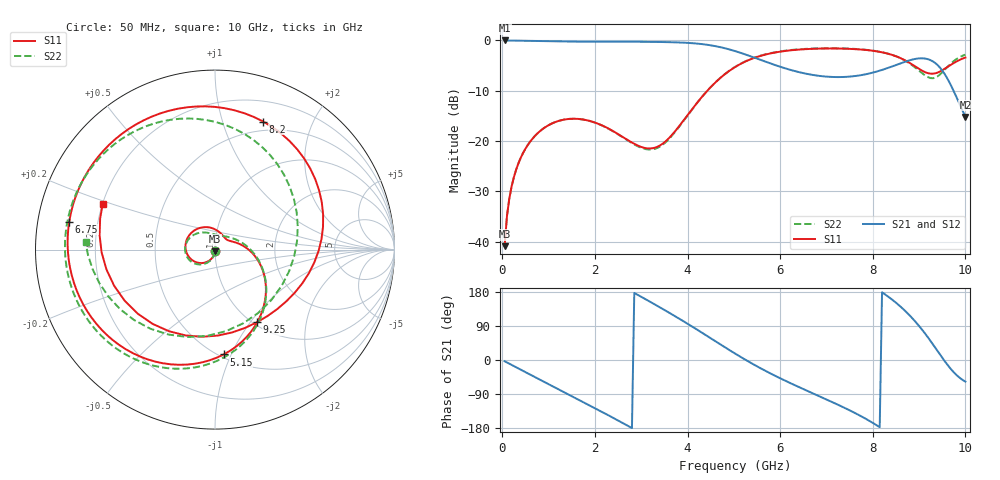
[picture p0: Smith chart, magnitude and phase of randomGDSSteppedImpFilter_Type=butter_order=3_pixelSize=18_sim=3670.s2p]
! freq	dB(S11)	phase(S11)	dB(S12)	phase(S12)
!  dB(S21)	phase(S21)	dB(S22)	phase(S22)
!S-par simulation data
#  GHz  S  DB  R 50
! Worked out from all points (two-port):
!   200 points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, 50 MHz to 10 GHz, reference 50 ohm
!   highest |S21| = -0.01 dB at 50 MHz (marker M1); lowest = -15.2 dB at 10 GHz (marker M2)
!   |S21| within 3 dB of the highest: start of sweep to 5.318 GHz
!   lowest |S11| = -40.9 dB at 50 MHz (marker M3), VSWR 1.02, Z = 50 - j0.904 ohm
!   |S11| at or under -10 dB: start of sweep to 4.427 GHz
!   |S22| runs from -40.8 to -1.5 dB; largest |S21 - S12| = 0
!   S11 on the Smith chart (normalised r, x): 50 MHz: 1.00, -0.02; 5.15 GHz: 0.53, -0.94; 6.75 GHz: 0.10, +0.09; 8.2 GHz: 0.40, +1.37; 9.25 GHz: 1.04, -1.08; 10 GHz: 0.20, +0.19
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0.05  -40.86 -92.1  -0.01 -3.3  -0.01 -3.3  -40.85 -91.4
0.2  -29.05 -103.3  -0.03 -12.9  -0.03 -12.9  -29.04 -101.8
0.5  -21.51 -124.4  -0.08 -32.0  -0.08 -32.0  -21.50 -120.4
1.15  -16.19 -168.6  -0.19 -73.1  -0.19 -73.1  -16.19 -158.9
1.75  -15.71 149.8  -0.25 -111.0  -0.25 -111.0  -15.72 166.8
2.65  -19.46 83.0  -0.25 -169.6  -0.25 -169.6  -19.53 116.3
3.4  -20.88 34.5  -0.31 139.2  -0.31 139.2  -21.11 60.1
4.2  -12.46 -12.2  -0.62 80.6  -0.62 80.6  -12.49 -10.7
4.65  -7.93 -46.3  -1.22 45.8  -1.22 45.8  -7.91 -45.6
5.05  -5.16 -77.6  -2.18 15.2  -2.18 15.2  -5.12 -75.2
5.15  -4.64 -85.3  -2.48 7.9  -2.48 7.9  -4.60 -82.2
5.8  -2.56 -131.7  -4.60 -36.1  -4.60 -36.1  -2.51 -123.7
6.7  -1.67 172.1  -6.85 -87.6  -6.85 -87.6  -1.61 -170.8
6.75  -1.65 169.1  -6.92 -90.4  -6.92 -90.4  -1.59 -173.3
7.6  -1.72 115.5  -7.09 -138.9  -7.09 -138.9  -1.67 144.7
8.2  -2.36 69.3  -5.86 178.6  -5.86 178.6  -2.34 108.8
8.35  -2.69 55.5  -5.39 165.6  -5.39 165.6  -2.68 97.7
8.65  -3.73 23.9  -4.38 135.3  -4.38 135.3  -3.77 70.8
8.95  -5.36 -14.1  -3.62 97.0  -3.62 97.0  -5.64 32.8
9.25  -6.60 -60.1  -3.93 49.8  -3.93 49.8  -7.48 -28.8
9.6  -5.35 -129.9  -7.40 -10.6  -7.40 -10.6  -5.36 -118.6
10  -3.40 157.7  -15.19 -57.0  -15.19 -57.0  -2.82 176.7
